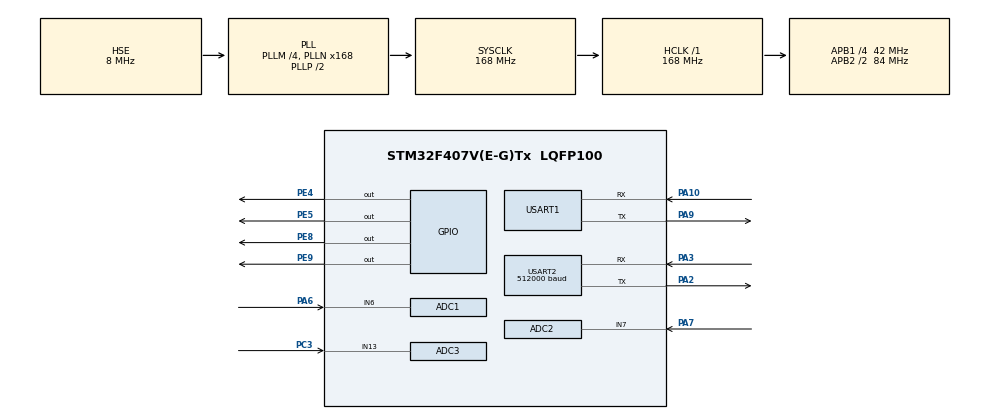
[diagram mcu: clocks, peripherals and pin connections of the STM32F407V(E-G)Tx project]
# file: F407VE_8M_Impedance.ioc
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ADC1.Channel-3\#ChannelRegularConversion=ADC_CHANNEL_6
ADC1.NbrOfConversionFlag=1
ADC1.Rank-3\#ChannelRegularConversion=1
ADC1.SamplingTime-3\#ChannelRegularConversion=ADC_SAMPLETIME_3CYCLES
ADC1.master=1
ADC2.Channel-0\#ChannelRegularConversion=ADC_CHANNEL_7
ADC2.NbrOfConversionFlag=1
ADC2.Rank-0\#ChannelRegularConversion=1
ADC2.SamplingTime-0\#ChannelRegularConversion=ADC_SAMPLETIME_3CYCLES
ADC3.Channel-1\#ChannelRegularConversion=ADC_CHANNEL_13
ADC3.NbrOfConversionFlag=1
ADC3.Rank-1\#ChannelRegularConversion=1
ADC3.SamplingTime-1\#ChannelRegularConversion=ADC_SAMPLETIME_3CYCLES
Mcu.Family=STM32F4
Mcu.Name=STM32F407V(E-G)Tx
Mcu.Package=LQFP100
NVIC.PriorityGroup=NVIC_PRIORITYGROUP_4
NVIC.USART1_IRQn=true\:0\:0\:false\:false\:true\:true\:true
NVIC.USART2_IRQn=true\:0\:0\:false\:false\:true\:true\:true
PA10.Mode=Asynchronous
PA10.Signal=USART1_RX
PA13.Mode=Serial_Wire
PA13.Signal=SYS_JTMS-SWDIO
PA14.Mode=Serial_Wire
PA14.Signal=SYS_JTCK-SWCLK
PA2.Mode=Asynchronous
PA2.Signal=USART2_TX
PA3.Mode=Asynchronous
PA3.Signal=USART2_RX
PA6.Signal=ADCx_IN6
PA7.Signal=ADCx_IN7
PA9.Mode=Asynchronous
PA9.Signal=USART1_TX
PC14-OSC32_IN.Mode=LSE-External-Oscillator
PC14-OSC32_IN.Signal=RCC_OSC32_IN
PC15-OSC32_OUT.Mode=LSE-External-Oscillator
PC15-OSC32_OUT.Signal=RCC_OSC32_OUT
PC3.Signal=ADCx_IN13
PE4.GPIO_ModeDefaultOutputPP=GPIO_MODE_OUTPUT_PP
PE4.GPIO_PuPd=GPIO_PULLUP
PE4.GPIO_Speed=GPIO_SPEED_FREQ_VERY_HIGH
PE4.PinState=GPIO_PIN_SET
PE4.Signal=GPIO_Output
PE5.GPIO_ModeDefaultOutputPP=GPIO_MODE_OUTPUT_PP
PE5.GPIO_PuPd=GPIO_PULLUP
PE5.GPIO_Speed=GPIO_SPEED_FREQ_VERY_HIGH
PE5.PinState=GPIO_PIN_SET
PE5.Signal=GPIO_Output
PE8.Signal=GPIO_Output
PE9.Signal=GPIO_Output
PH0-OSC_IN.Mode=HSE-External-Oscillator
PH0-OSC_IN.Signal=RCC_OSC_IN
PH1-OSC_OUT.Mode=HSE-External-Oscillator
PH1-OSC_OUT.Signal=RCC_OSC_OUT
ProjectManager.HeapSize=0x200
ProjectManager.StackSize=0x400
ProjectManager.TargetToolchain=MDK-ARM V5.27
RCC.48MHZClocksFreq_Value=84000000
RCC.AHBFreq_Value=168000000
RCC.APB1CLKDivider=RCC_HCLK_DIV4
RCC.APB1Freq_Value=42000000
RCC.APB1TimFreq_Value=84000000
RCC.APB2CLKDivider=RCC_HCLK_DIV2
RCC.APB2Freq_Value=84000000
RCC.APB2TimFreq_Value=168000000
RCC.CortexFreq_Value=168000000
RCC.HCLKFreq_Value=168000000
RCC.HSE_VALUE=8000000
RCC.HSI_VALUE=16000000
RCC.PLLM=4
RCC.PLLN=168
RCC.PLLSourceVirtual=RCC_PLLSOURCE_HSE
RCC.SYSCLKFreq_VALUE=168000000
RCC.SYSCLKSource=RCC_SYSCLKSOURCE_PLLCLK
RCC.VCOOutputFreq_Value=336000000
SH.ADCx_IN13.0=ADC3_IN13,IN13
SH.ADCx_IN6.0=ADC1_IN6,IN6
SH.ADCx_IN7.0=ADC2_IN7,IN7
TIM2.AutoReloadPreload=TIM_AUTORELOAD_PRELOAD_ENABLE
TIM2.Period=83
TIM2.Prescaler=0
TIM2.TIM_MasterOutputTrigger=TIM_TRGO_UPDATE
USART1.VirtualMode=VM_ASYNC
USART2.BaudRate=512000
USART2.VirtualMode=VM_ASYNC
VP_TIM2_VS_ClockSourceINT.Mode=Internal
board=custom

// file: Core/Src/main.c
/* USER CODE BEGIN Header */
/**
  ******************************************************************************
  * @file           : main.c
  * @brief          : Main program body
  ******************************************************************************
  * @attention
  *
  * <h2><center>&copy; Copyright (c) 2021 STMicroelectronics.
  * All rights reserved.</center></h2>
  *
  * This software component is licensed by ST under BSD 3-Clause license,
  * the "License"; You may not use this file except in compliance with the
  * License. You may obtain a copy of the License at:
  *                        opensource.org/licenses/BSD-3-Clause
  *
  ******************************************************************************
  */
/* USER CODE END Header */
#include "main.h"
#include "adc.h"
#include "tim.h"
#include "usart.h"
#include "gpio.h"

/* USER CODE BEGIN Includes */
#include "AD9910/ad9910.h"
#include "arm_math.h"
/* USER CODE END Includes */

/* USER CODE BEGIN PV */
MyUARTHandle uart1, uart2;
uint8_t uartBuf1[100], uartBuf2[100];
uint16_t valk[15], valm[420];
uint16_t maxX, threX;
double tmp;
double delta;
/* USER CODE END PV */

void SystemClock_Config(void);

/* USER CODE BEGIN 0 */
void SendCMD(char* str)
{
  MyUART_WriteStr(&uart2, str);
  MyUART_WriteStr(&uart2, "\xFF\xFF\xFF");
}

uint8_t WaitResponse(uint8_t ch, uint16_t timeout)
{
  uint8_t rxBuf[15];
  rxBuf[0] = 0x00;
  while (timeout--)
  {
    if (rxBuf[0] == ch)
      return 1;
    Delay_ms(1);
    MyUART_Read(&uart2, rxBuf, 4);
  }
  return 0;
}

void sweep()
{
  uint32_t i, j;
  uint8_t str[20];
  for(i = 1; i <= 10; i++)
  {
    Amp_convert(120);
    Freq_convert(i*100);
    Delay_ms(500);
    HAL_ADC_Start(&hadc1);
    Delay_us(1);
    valk[i] = HAL_ADC_GetValue(&hadc1) / 9;
  }
  for(i = 1; i <= 400; i++)
  {
    Amp_convert(120);
    Freq_convert(i*2500);
    Delay_ms(10);
    HAL_ADC_Start(&hadc1);
    Delay_us(1);
    valm[i] = HAL_ADC_GetValue(&hadc1) / 9;
  }
  for(i = 1; i <= 10; i++)
  {
    printf("%d, %d\r\n", i*100, valk[i]);
  }
  for(i = 1; i <= 400; i++)
  {
    printf("%d, %d\r\n", i*2500, valm[i]);
  }
  SendCMD("ref_stop");

  SendCMD("cle 1,0");
  SendCMD("addt 1,0,360");
  WaitResponse(0xFE, 30);
  for(i = 1;i < 10; i++)
  {
    delta = valk[i+1] - valk[i];
    delta /= 40;
    for(j = 0;j < 40; j++)
    {
      MyUART_WriteChar(&uart2, valk[i] + delta * j + 0.5);
    }
  }
  for (i = 0; i < 400; i++)
  {
    tmp = valk[i / 40 + 2] - valk[i / 40 + 1];
    tmp *= (i - (i/40*40)) / 40.0 + 0.5;
    tmp += valk[i / 40 + 1];
    MyUART_WriteChar(&uart2, tmp);
  }
  WaitResponse(0xFD, 30);

  SendCMD("cle 2,0");
  SendCMD("addt 2,0,400");
  WaitResponse(0xFE, 30);
  for (i = 1; i <= 400; i++)
    MyUART_WriteChar(&uart2, valm[i]);
  WaitResponse(0xFD, 30);

  SendCMD("ref_star");

  maxX = 1;
  for(i = 1;i<=400;i++)
  {
    if(valm[i]> valm[maxX])
      maxX = i;
  }
  printf("max: %d, %d\r\n", maxX, maxX * 2500);
  tmp = valm[maxX];
  tmp *=9*3.3;
  tmp /= 4095;
  tmp *= 4.25;
  tmp *=1000;
  tmp /=23.72;
  printf("maxVal: %f\r\n", tmp);
  for(i = maxX;i<=400;i++)
  {
    if(valm[i] <= valm[maxX] * 0.707)
    {
      threX = i;
      break;
    }
  }
  printf("thre: %d, %d\r\n", threX, threX * 2500);
  // thre
  MyUART_WriteStr(&uart2, "t7.txt=\"");
  myitoa(threX * 2500, str, 10);
  MyUART_WriteStr(&uart2, str);
  SendCMD("\"");
  // amp
  MyUART_WriteStr(&uart2, "t6.txt=\"");
  myitoa(tmp, str, 10);
  MyUART_WriteStr(&uart2, str);
  SendCMD("\"");
}
void ImpeO()
{
  uint32_t tmp0, tmp1, val;
  uint8_t str[20];
  Amp_convert(120);
  Freq_convert(1000);
  HAL_GPIO_WritePin(GPIOE, GPIO_PIN_9, 0);
  Delay_ms(200);
  HAL_ADC_Start(&hadc2);
  Delay_us(1);
  tmp0 = HAL_ADC_GetValue(&hadc2);

  HAL_GPIO_WritePin(GPIOE, GPIO_PIN_9, 1);
  Delay_ms(200);
  HAL_ADC_Start(&hadc2);
  Delay_us(1);
  tmp1 = HAL_ADC_GetValue(&hadc2);
  HAL_GPIO_WritePin(GPIOE, GPIO_PIN_9, 0);
  val = (double)(tmp0 - tmp1) / tmp1 * 1600.0;
  // ImpeO
  MyUART_WriteStr(&uart2, "t5.txt=\"");
  myitoa(val, str, 10);
  MyUART_WriteStr(&uart2, str);
  SendCMD("\"");
}
/* USER CODE END 0 */

int main(void)
{
  /* USER CODE BEGIN 1 */
  uint32_t i;
  /* USER CODE END 1 */

  /* MCU Configuration--------------------------------------------------------*/

  /* Reset of all peripherals, Initializes the Flash interface and the Systick. */
  HAL_Init();

  /* Configure the system clock */
  SystemClock_Config();

  /* Initialize all configured peripherals */
  MX_GPIO_Init();
  MX_USART1_UART_Init();
  MX_ADC1_Init();
  MX_TIM2_Init();
  MX_USART2_UART_Init();
  MX_ADC2_Init();
  MX_ADC3_Init();
  /* USER CODE BEGIN 2 */
  Delay_Init(168);
  MyUART_Init(&uart1, USART1, uartBuf1, 100);
  MyUART_Init(&uart2, USART2, uartBuf2, 100);
  Init_ad9910();
  Amp_convert(120);
  Freq_convert(1000);
  i = 100;
  /* USER CODE END 2 */

  /* Infinite loop */
  while (1)
  {

    /* USER CODE BEGIN 3 */
    HAL_GPIO_WritePin(GPIOE, GPIO_PIN_8, 1);
    Delay_ms(200);
    sweep();
    HAL_GPIO_WritePin(GPIOE, GPIO_PIN_8, 0);
    Delay_ms(200);
    ImpeO();
  }
  /* USER CODE END 3 */
}

void SystemClock_Config(void)
{
  RCC_OscInitTypeDef RCC_OscInitStruct = {0};
  RCC_ClkInitTypeDef RCC_ClkInitStruct = {0};

  /** Configure the main internal regulator output voltage
  */
  __HAL_RCC_PWR_CLK_ENABLE();
  __HAL_PWR_VOLTAGESCALING_CONFIG(PWR_REGULATOR_VOLTAGE_SCALE1);
  /** Initializes the RCC Oscillators according to the specified parameters
  * in the RCC_OscInitTypeDef structure.
  */
  RCC_OscInitStruct.OscillatorType = RCC_OSCILLATORTYPE_HSE;
  RCC_OscInitStruct.HSEState = RCC_HSE_ON;
  RCC_OscInitStruct.PLL.PLLState = RCC_PLL_ON;
  RCC_OscInitStruct.PLL.PLLSource = RCC_PLLSOURCE_HSE;
  RCC_OscInitStruct.PLL.PLLM = 4;
  RCC_OscInitStruct.PLL.PLLN = 168;
  RCC_OscInitStruct.PLL.PLLP = RCC_PLLP_DIV2;
  RCC_OscInitStruct.PLL.PLLQ = 4;
  if (HAL_RCC_OscConfig(&RCC_OscInitStruct) != HAL_OK)
  {
    Error_Handler();
  }
  /** Initializes the CPU, AHB and APB buses clocks
  */
  RCC_ClkInitStruct.ClockType = RCC_CLOCKTYPE_HCLK|RCC_CLOCKTYPE_SYSCLK
                              |RCC_CLOCKTYPE_PCLK1|RCC_CLOCKTYPE_PCLK2;
  RCC_ClkInitStruct.SYSCLKSource = RCC_SYSCLKSOURCE_PLLCLK;
  RCC_ClkInitStruct.AHBCLKDivider = RCC_SYSCLK_DIV1;
  RCC_ClkInitStruct.APB1CLKDivider = RCC_HCLK_DIV4;
  RCC_ClkInitStruct.APB2CLKDivider = RCC_HCLK_DIV2;

  if (HAL_RCC_ClockConfig(&RCC_ClkInitStruct, FLASH_LATENCY_5) != HAL_OK)
  {
    Error_Handler();
  }
}

void Error_Handler(void)
{
  __disable_irq();
  while (1)
  {
  }
}

/************************ (C) COPYRIGHT STMicroelectronics *****END OF FILE****/
